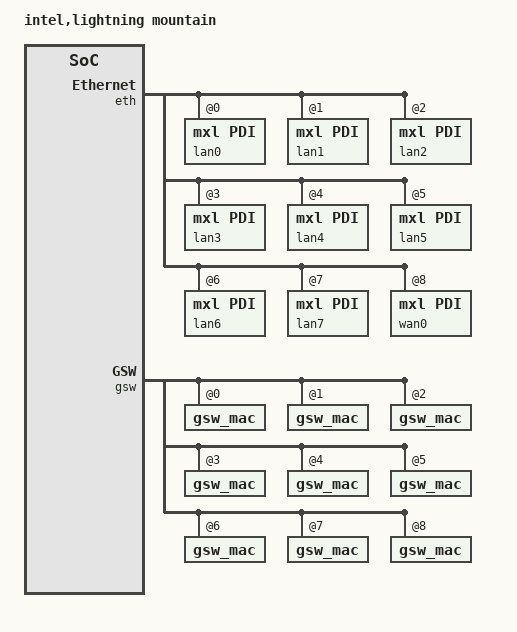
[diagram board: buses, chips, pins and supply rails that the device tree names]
// SPDX-License-Identifier: GPL-2.0
/*
 * Copyright (c) 2018 Intel Corporation.
 */

/dts-v1/;
#include <dt-bindings/gpio/gpio.h>
//#include <dt-bindings/clock/intel,lgm-clk.h>
//#include <dt-bindings/pinctrl/intel,equilibrium.h>
//#include "lightning_mountain_b.dtsi"
#include <dt-bindings/interrupt-controller/irq.h>

#include "lightning_mountain_c.dtsi"


/ {
	model = "intel,lightning mountain", "mxl,lgm-haps";

	aliases {
		eth0_0 = &lan0;
		eth0_1 = &lan1;
		eth0_2 = &lan2;
		eth0_3 = &lan3;
		eth0_4 = &lan4;
		eth0_5 = &lan5;
		eth0_6 = &lan6;
		eth0_7 = &lan7;
		eth0_8 = &wan0;
	};

	chosen {
		/* ramfs */
		bootargs = "earlycon console=ttyLTQ0,86400n8r root=/dev/ram init=/init maxcpus=4 initcall_debug=0 clk_ignore_unused loglevel=8";
		/* emmc squashfs */
		/* bootargs = "earlycon console=ttyLTQ1,115200n8r root=/dev/mmcblk0gp1 rootfstype=squashfs rootwait maxcpus=4 initcall_debug=0 clk_ignore_unused loglevel=8"; */

		stdout-path = "serial0";
	};
};

&asc0 {
	intel,in-emulation;
};

&combophy0 {
	status = "disabled";
};

&pcie10 {
	status = "disabled";
	intel,rst-interval = <100>;
	reset-gpios = <&gpio0 21 GPIO_ACTIVE_LOW>;
	num-lanes = <1>;
};

&pcie11 {
	status = "disabled";
	intel,rst-interval = <100>;
	reset-gpios = <&gpio0 21 GPIO_ACTIVE_LOW>;
	num-lanes = <1>;
};

&cb1phy1 {
	status = "disabled";
	intel,mode = <0>; /* 0 - pcie, 1 - xpcs, 2 - sata */
};

&pcie30 {
	status = "disabled";
	intel,rst-interval = <100>;
	reset-gpios = <&gpio0 21 GPIO_ACTIVE_LOW>;
	num-lanes = <2>;
};

&pcie31 {
	status = "disabled";
	intel,rst-interval = <100>;
	reset-gpios = <&gpio0 21 GPIO_ACTIVE_LOW>;
	num-lanes = <1>;
};

&combophy2 {
	status = "disabled";
};

&pcie20 {
	status = "disabled";
	intel,rst-interval = <100>;
	reset-gpios = <&gpio0 21 GPIO_ACTIVE_LOW>;
	num-lanes = <1>;
};

&pcie21 {
	status = "disabled";
	intel,rst-interval = <100>;
	reset-gpios = <&gpio0 21 GPIO_ACTIVE_LOW>;
	num-lanes = <1>;
};

&combophy3 {
	status = "disabled";
};

&pcie40 {
	status = "disabled";
	intel,rst-interval = <100>;
	reset-gpios = <&gpio0 21 GPIO_ACTIVE_LOW>;
	num-lanes = <1>;
};

&pcie41 {
	status = "disabled";
	intel,rst-interval = <100>;
	reset-gpios = <&gpio0 21 GPIO_ACTIVE_LOW>;
	num-lanes = <1>;
};

&emmc {
	bus-width = <8>;
	non-removable;
	status = "disabled";
};

&emmc_phy {
	status = "disabled";
};

&ssc1 {
	ltq-spinand@0 {
		status = "disabled";
		#address-cells = <1>;
		#size-cells = <1>;
		reg = <0>;
		compatible = "lantiq,spinand";
		linux,mtd-name = "nand.0";
		spi-max-frequency = <15384615>;

		/* Basic fallback partition layout. Real partition should be
		 * defined in kernel boot parameters by uboot.
		 */
		partition@0 {
			reg = <0x0 0x40000>;
			label = "uboot";
			read-only;
		};

		partition@40000 {
			reg = <0x40000 0x80000>;
			label = "uboot_env";
		};

		partition@C0000 {
			reg = <0xC0000 0x740000>;
			label = "image0";
		};

		partition@800000 {
			reg = <0x800000 0x800000>;
			label = "image1";
		};
	};

	mx25u12835f@1 {
		status = "disabled";
		#address-cells = <1>;
		#size-cells = <1>;
		compatible = "jedec,spi-nor";
		reg = <0>;
		spi-max-frequency = <15384615>;

		/* Basic fallback partition layout. Real partition should be
		 * defined in kernel boot parameters by uboot.
		 */
		partition@0 {
			reg = <0x0 0x40000>;
			label = "uboot";
			read-only;
		};

		partition@40000 {
			reg = <0x40000 0x80000>;
			label = "uboot_env";
		};

		partition@C0000 {
			reg = <0xC0000 0x740000>;
			label = "image0";
		};

		partition@800000 {
			reg = <0x800000 0x800000>;
			label = "image1";
		};
	};
};

/******************************************************************************
 ** Board configuration: Configure LAN/WAN interfaces
 ******************************************************************************/
&eth {
	status = "okay";

	lan0: interface@0 {
		#address-cells = <1>;
		#size-cells = <0>;
		compatible = "mxl,pdi";
		mxl,dp-dev-port = <3>;
		mxl,dp-port-id = <3>;
		mxl,xgmac-id = <3>;
		phy-mode = "10gbase-kr";
		fixed-link {
			speed = <10000>;
			full-duplex;
			pause;
			asym-pause;
		};
		lan0_eth: ethernet@0 {
			compatible = "mxl,pdi-port";
			reg = <0>;
			phy-mode = "rgmii";
		};
	};

	lan1: interface@1 {
		#address-cells = <1>;
		#size-cells = <0>;
		compatible = "mxl,pdi";
		mxl,dp-dev-port = <4>;
		mxl,dp-port-id = <4>;
		mxl,xgmac-id = <4>;
		phy-mode = "10gbase-kr";
		fixed-link {
			speed = <10000>;
			full-duplex;
			pause;
			asym-pause;
		};
		lan1_eth: ethernet@1 {
			compatible = "mxl,pdi-port";
			reg = <1>;
			phy-mode = "rgmii";
		};

	};

	lan2: interface@2 {
		#address-cells = <1>;
		#size-cells = <0>;
		compatible = "mxl,pdi";
		mxl,dp-dev-port = <5>;
		mxl,dp-port-id = <5>;
		mxl,xgmac-id = <5>;
		phy-mode = "10gbase-kr";
		fixed-link {
			speed = <10000>;
			full-duplex;
			pause;
			asym-pause;
		};
		lan2_eth: ethernet@2 {
			compatible = "mxl,pdi-port";
			reg = <2>;
			phy-mode = "rgmii";
		};

	};

	lan3: interface@3 {
		#address-cells = <1>;
		#size-cells = <0>;
		compatible = "mxl,pdi";
		mxl,dp-dev-port = <6>;
		mxl,dp-port-id = <6>;
		mxl,xgmac-id = <6>;
		phy-mode = "10gbase-kr";
		fixed-link {
			speed = <10000>;
			full-duplex;
			pause;
			asym-pause;
		};
		lan3_eth: ethernet@3 {
			compatible = "mxl,pdi-port";
			reg = <3>;
			phy-mode = "rgmii";
		};
	};

	lan4: interface@4 {
		#address-cells = <1>;
		#size-cells = <0>;
		compatible = "mxl,pdi";
		mxl,dp-dev-port = <7>;
		mxl,dp-port-id = <7>;
		mxl,xgmac-id = <7>;
		phy-mode = "10gbase-kr";
		fixed-link {
			speed = <10000>;
			full-duplex;
			pause;
			asym-pause;
		};
		lan4_eth: ethernet@4 {
			compatible = "mxl,pdi-port";
			reg = <4>;
			phy-mode = "rgmii";
		};
	};

	lan5: interface@5 {
		#address-cells = <1>;
		#size-cells = <0>;
		compatible = "mxl,pdi";
		mxl,dp-dev-port = <8>;
		mxl,dp-port-id = <8>;
		mxl,xgmac-id = <8>;
		phy-mode = "10gbase-kr";
		fixed-link {
			speed = <10000>;
			full-duplex;
			pause;
			asym-pause;
		};
		lan5_eth: ethernet@5 {
			compatible = "mxl,pdi-port";
			reg = <5>;
			phy-mode = "rgmii";
		};
	};

	lan6: interface@6 {
		#address-cells = <1>;
		#size-cells = <0>;
		compatible = "mxl,pdi";
		reg = <6>;
		intel,dp-dev-port = <9>;
		intel,dp-port-id = <9>;
		intel,xgmac-id = <9>;
		fixed-link {
			speed = <10000>;
			full-duplex;
			pause;
			asym-pause;
		};

		lan6_eth: ethernet@6 {
			compatible = "mxl,pdi-port";
			reg = <6>;
			phy-mode = "rgmii";
		};
	};

	lan7: interface@7 {
		#address-cells = <1>;
		#size-cells = <0>;
		compatible = "mxl,pdi";
		reg = <7>;
		intel,dp-dev-port = <10>;
		intel,dp-port-id = <10>;
		intel,xgmac-id = <10>;
		fixed-link {
			speed = <10000>;
			full-duplex;
			pause;
			asym-pause;
		};

		lan7_eth: ethernet@7 {
			compatible = "mxl,pdi-port";
			reg = <7>;
			phy-mode = "rgmii";
		};
	};

	wan0: interface@8 {
		#address-cells = <1>;
		#size-cells = <0>;
		compatible = "mxl,pdi";
		mxl,wan = <1>;
		mxl,dp-dev-port = <2>;
		mxl,dp-port-id = <2>;
		mxl,xgmac-id = <2>;
		phy-mode = "10gbase-kr";
		fixed-link {
			speed = <10000>;
			full-duplex;
			pause;
			asym-pause;
		};
		wan0_eth: ethernet@8 {
			compatible = "mxl,pdi-port";
			reg = <8>;
			phy-mode = "rgmii";
		};
	};
};

&vuni {
	status = "disabled";
	vani@0 {
	intel,extra-subif = <0>;
	};
};

&gsw {
	gsw_mac@0 {
		board_type = "haps";
	};
	gsw_mac@1 {
		board_type = "haps";
	};
	gsw_mac@2 {
		board_type = "haps";
	};
	gsw_mac@3 {
		board_type = "haps";
	};
	gsw_mac@4 {
		board_type = "haps";
	};
	gsw_mac@5 {
		board_type = "haps";
	};
	gsw_mac@6 {
		board_type = "haps";
	};
	gsw_mac@7 {
		board_type = "haps";
	};
	gsw_mac@8 {
		board_type = "haps";
	};
};

&adp {
	status = "disabled";
};

&epu {
	status = "disabled";
};

&gptc0 {
	status = "disabled";
};

&gptc1 {
	status = "disabled";
};

&gptc2 {
	status = "disabled";
};

&gptc3 {
	status = "disabled";
};

&toe {
	status = "disabled";
};

&toe_dma30 {
	status = "disabled";
};

&toe_dma31 {
	status = "disabled";
};

&dma3 {
	status = "disabled";
};

&mcpy {
	status = "disabled";
};

&crypto {
	status = "disabled";
};

&vpn {
	status = "disabled";
};

&pvt {
	status = "disabled";
};

&ppv4 {
	num-sessions = <64>;
	clock-frequency-mhz = <5>;
};

&soc {
	umt_test {
		compatible = "mxl,umt-test";
	};
};

